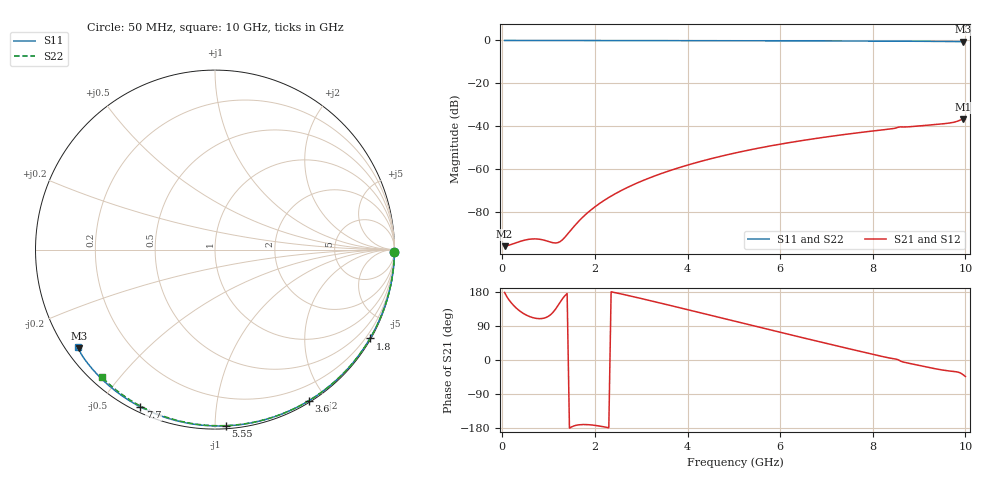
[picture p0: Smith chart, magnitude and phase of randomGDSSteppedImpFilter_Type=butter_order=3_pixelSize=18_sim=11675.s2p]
! freq	dB(S11)	phase(S11)	dB(S12)	phase(S12)
!  dB(S21)	phase(S21)	dB(S22)	phase(S22)
!S-par simulation data
#  GHz  S  DB  R 50
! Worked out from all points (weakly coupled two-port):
!   200 points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, 50 MHz to 10 GHz, reference 50 ohm
!   highest |S21| = -36.64 dB at 9.95 GHz (marker M1); lowest = -95.7 dB at 50 MHz (marker M2)
!   lowest |S11| = -0.6 dB at 9.95 GHz (marker M3), VSWR 29.83, Z = 1.85 - j16.2 ohm
!   |S11| at or under -10 dB: nowhere
!   |S22| runs from -0.4 to 0.0 dB; largest |S21 - S12| = 0
!   S11 on the Smith chart (normalised r, x): 50 MHz: open; 1.8 GHz: 0.03, -3.76; 3.6 GHz: 0.02, -1.80; 5.55 GHz: 0.02, -1.06; 7.7 GHz: 0.02, -0.63; 10 GHz: 0.04, -0.32
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0.05  -0.00 -0.8  -95.71 178.1  -95.71 178.1  -0.00 -0.8
0.85  -0.01 -14.2  -92.65 109.4  -92.65 109.4  -0.01 -12.9
1.75  -0.04 -29.0  -81.96 -170.3  -81.96 -170.3  -0.03 -26.3
1.8  -0.04 -29.8  -80.96 -170.3  -80.96 -170.3  -0.03 -27.0
1.85  -0.04 -30.6  -80.01 -170.6  -80.01 -170.6  -0.04 -27.7
2.15  -0.05 -35.4  -75.11 -175.4  -75.11 -175.4  -0.04 -32.1
2.55  -0.05 -41.8  -70.03 174.8  -70.03 174.8  -0.05 -37.9
2.95  -0.06 -48.1  -65.96 163.7  -65.96 163.7  -0.06 -43.6
3.4  -0.07 -55.1  -62.17 150.6  -62.17 150.6  -0.07 -50.0
3.6  -0.08 -58.1  -60.68 144.8  -60.68 144.8  -0.07 -52.8
4.3  -0.10 -68.6  -56.17 124.0  -56.17 124.0  -0.09 -62.4
5.05  -0.12 -79.5  -52.25 101.5  -52.25 101.5  -0.11 -72.4
5.55  -0.14 -86.5  -50.03 86.6  -50.03 86.6  -0.13 -78.8
6.7  -0.20 -102.3  -45.82 52.5  -45.82 52.5  -0.18 -93.3
7.7  -0.26 -115.4  -42.89 23.6  -42.89 23.6  -0.24 -105.3
8.35  -0.32 -123.8  -41.26 5.5  -41.26 5.5  -0.29 -112.9
8.6  -0.34 -127.0  -40.21 -2.9  -40.21 -2.9  -0.31 -115.8
8.85  -0.36 -130.2  -40.05 -10.5  -40.05 -10.5  -0.33 -118.7
9.65  -0.46 -140.5  -38.44 -28.9  -38.44 -28.9  -0.41 -127.8
9.8  -0.50 -142.5  -37.77 -31.0  -37.77 -31.0  -0.43 -129.5
9.95  -0.58 -144.1  -36.64 -38.8  -36.64 -38.8  -0.45 -131.2
10  -0.57 -144.5  -36.69 -43.5  -36.69 -43.5  -0.45 -131.7
